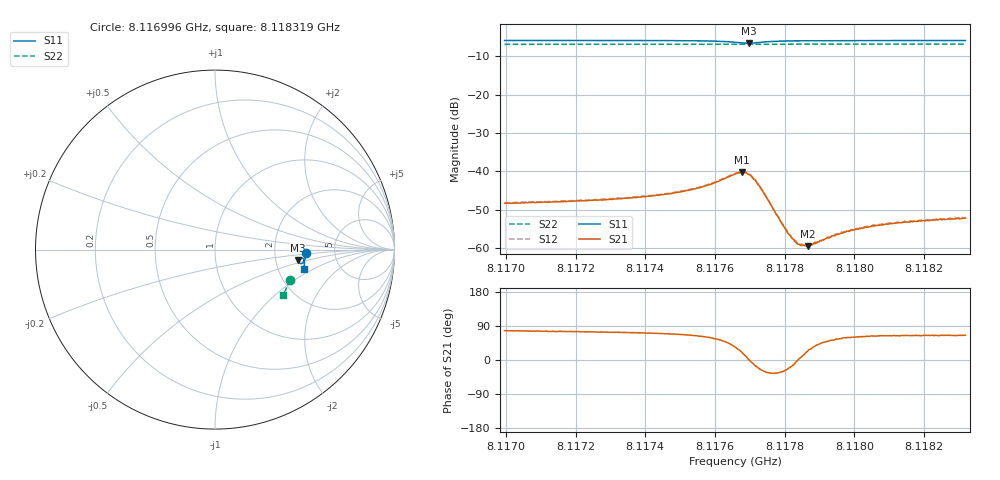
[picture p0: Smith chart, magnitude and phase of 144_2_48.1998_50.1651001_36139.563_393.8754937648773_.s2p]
#  HZ  S  RI  R  50.00
! Rohde & Schwarz Vector Network Analyzer
! Rohde-Schwarz,ZNB20-2Port,1311601062101988,3.16
! Created: UTC 3/20/2024, 11:42:32 AM
! freq[Hz]  re:S11  im:S11  re:S21  im:S21  re:S12  im:S12  re:S22  im:S22
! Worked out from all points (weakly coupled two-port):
!   401 points, 8.116996 GHz to 8.118319 GHz, reference 50 ohm
!   highest |S21| = -40.18 dB at 8.117677 GHz (marker M1); lowest = -59.5 dB at 8.117866 GHz (marker M2)
!   lowest |S11| = -6.6 dB at 8.117697 GHz (marker M3), VSWR 2.74, Z = 134 - j19.9 ohm
!   |S11| at or under -10 dB: nowhere
!   |S22| runs from -6.9 to -6.8 dB; largest |S21 - S12| = 0.0003
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8.1169962e9  0.5059 -0.0167  0.000827 0.00374  0.000908 0.00382  0.4176 -0.1693
8.1172177e9  0.5045 -0.0346  0.0011 0.00399  0.00119 0.00404  0.4121 -0.1835
8.1173401e9  0.5032 -0.0448  0.00134 0.00426  0.00141 0.00428  0.4089 -0.1918
8.1174393e9  0.5013 -0.0542  0.00166 0.00462  0.00174 0.00469  0.4061 -0.1983
8.1175054e9  0.4991 -0.0612  0.00212 0.00503  0.00223 0.00508  0.4042 -0.2024
8.1175583e9  0.4959 -0.0679  0.00283 0.00549  0.00292 0.00556  0.4024 -0.2058
8.117598e9  0.491 -0.0734  0.00389 0.0059  0.00401 0.00599  0.4011 -0.2085
8.1176575e9  0.4731 -0.0772  0.00762 0.00522  0.00778 0.00528  0.3986 -0.212
8.1176773e9  0.4646 -0.0707  0.0092 0.00338  0.0093 0.00323  0.3979 -0.2127
8.1176972e9  0.4622 -0.0581  0.00909 0.000175  0.00925 0.000127  0.3971 -0.2134
8.1177104e9  0.4663 -0.0504  0.00786 -0.00139  0.00809 -0.00159  0.397 -0.2137
8.1177302e9  0.4762 -0.0452  0.00556 -0.00258  0.00565 -0.00269  0.397 -0.215
8.1177931e9  0.4942 -0.0541  0.00176 -0.00106  0.00179 -0.00111  0.3959 -0.2192
8.1178162e9  0.4963 -0.0583  0.00138 -0.000477  0.00139 -0.000474  0.3952 -0.2209
8.1178393e9  0.4975 -0.062  0.00112 2.67e-05  0.00115 -8.29e-06  0.3945 -0.2224
8.1178658e9  0.4982 -0.0658  0.000977 0.000417  0.00101 0.000439  0.3937 -0.2241
8.117879e9  0.4982 -0.0675  0.00094 0.000586  0.000942 0.000605  0.3933 -0.2249
8.1179551e9  0.4984 -0.0761  0.000863 0.00125  0.000904 0.00128  0.3908 -0.2298
8.1180278e9  0.4978 -0.083  0.000865 0.00162  0.000877 0.00167  0.3882 -0.2343
8.1181006e9  0.4968 -0.0894  0.000906 0.00186  0.000959 0.00189  0.3859 -0.2388
8.1181931e9  0.4955 -0.097  0.000983 0.00204  0.00103 0.0021  0.3825 -0.2445
8.1183188e9  0.4936 -0.107  0.00102 0.00224  0.00109 0.00225  0.3782 -0.2521
